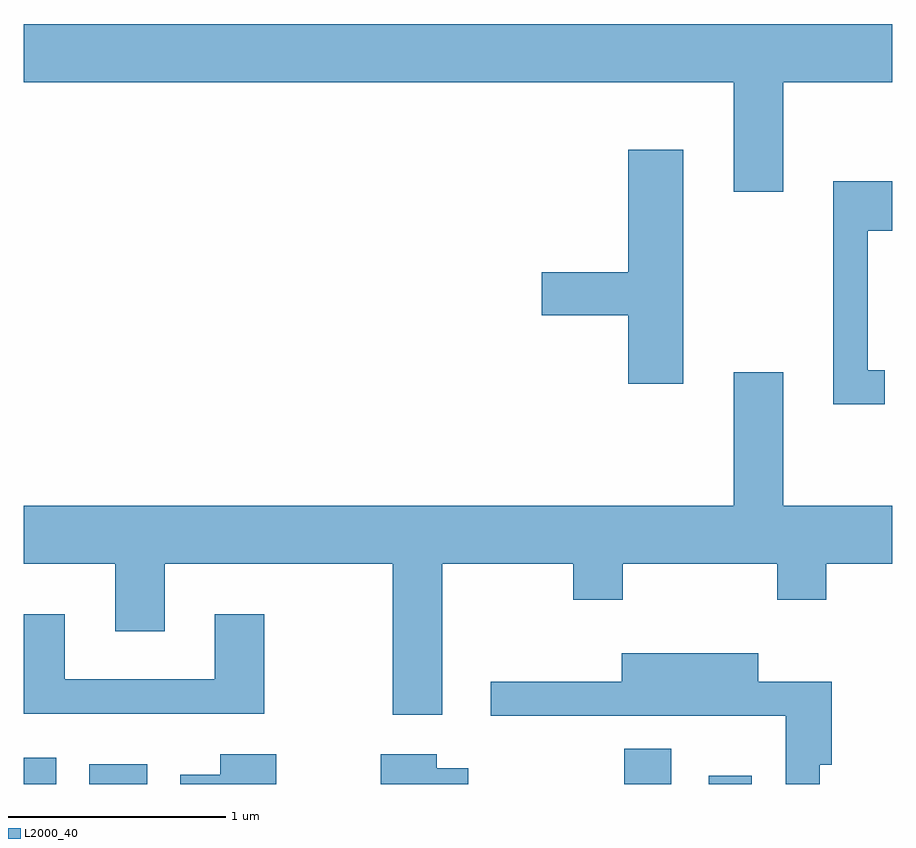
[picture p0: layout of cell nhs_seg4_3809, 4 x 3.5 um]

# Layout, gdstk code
import gdstk
lib = gdstk.Library(unit=1e-6, precision=1e-09)
def R(c, l, rs):  # rectangles x0, y0, x1, y1
    for r in rs: c.add(gdstk.rectangle(r[:2], r[2:], *l))
def P(c, l, *ps):  # polygons
    for p in ps: c.add(gdstk.Polygon(p, *l))
L2000_40 = (2000, 40)

nhs_seg4_3809 = lib.new_cell('nhs_seg4_3809')
R(nhs_seg4_3809, L2000_40, [(297.611,1255.982,297.759,1256.104), (297.911,1255.982,298.179,1256.074), (300.376,1255.982,300.594,1256.144), (300.766,1255.982,300.964,1256.019)])
P(nhs_seg4_3809, L2000_40, [(301.109,1259.216),(301.611,1259.216),(301.611,1259.484),(297.611,1259.484),(297.611,1259.216),(300.881,1259.216),(300.881,1258.711),(301.109,1258.711)],
  [(300.649,1258.904),(300.396,1258.904),(300.396,1258.339),(299.996,1258.339),(299.996,1258.141),(300.396,1258.141),(300.396,1257.826),(300.649,1257.826)],
  [(301.578,1257.889),(301.499,1257.889),(301.499,1258.531),(301.611,1258.531),(301.611,1258.759),(301.341,1258.759),(301.341,1257.731),(301.578,1257.731)],
  [(299.539,1256.996),(300.141,1256.996),(300.141,1256.831),(300.369,1256.831),(300.369,1256.996),(301.081,1256.996),(301.081,1256.831),(301.309,1256.831),(301.309,1256.996),(301.611,1256.996),(301.611,1257.264),(301.109,1257.264),(301.109,1257.879),(300.881,1257.879),(300.881,1257.264),(297.611,1257.264),(297.611,1256.996),(298.031,1256.996),(298.031,1256.686),(298.259,1256.686),(298.259,1256.996),(299.311,1256.996),(299.311,1256.301),(299.539,1256.301)],
  [(298.719,1256.764),(298.491,1256.764),(298.491,1256.464),(297.799,1256.464),(297.799,1256.764),(297.611,1256.764),(297.611,1256.306),(298.719,1256.306)],
  [(301.279,1256.071),(301.334,1256.071),(301.334,1256.454),(300.994,1256.454),(300.994,1256.584),(300.366,1256.584),(300.366,1256.454),(299.763,1256.454),(299.763,1256.296),(301.121,1256.296),(301.121,1255.982),(301.279,1255.982)],
  [(298.774,1256.119),(298.516,1256.119),(298.516,1256.024),(298.331,1256.024),(298.331,1255.982),(298.774,1255.982)],
  [(299.659,1256.054),(299.514,1256.054),(299.514,1256.119),(299.256,1256.119),(299.256,1255.982),(299.659,1255.982)])

lib.write_gds('nhs_seg4_3809.gds')
